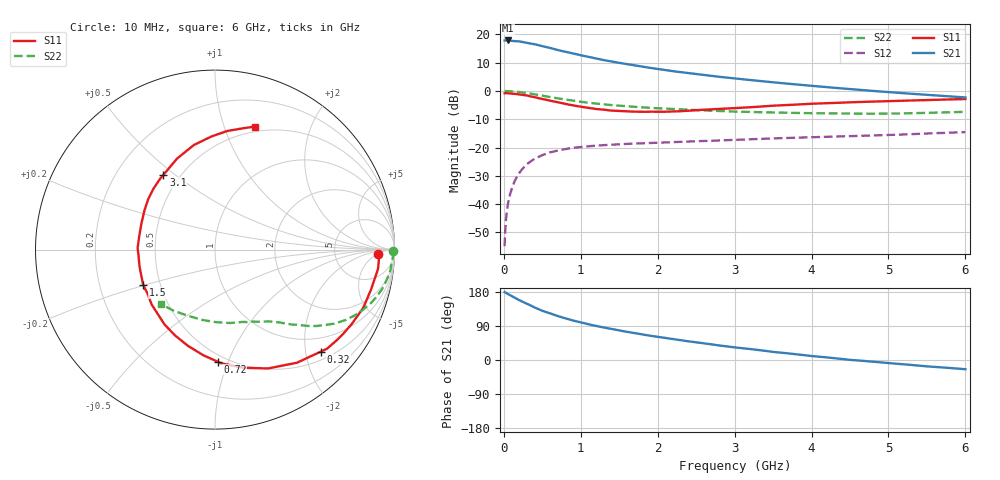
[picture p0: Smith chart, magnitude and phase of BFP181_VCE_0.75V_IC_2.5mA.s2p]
! Infineon Technologies  Discrete & RF Semiconductors
! BFP181
! VCE = 0.75V,  IC =  2.5 mA
! Common Emitter S-Parameters:  Jan 2016
# GHz  S  MA  R  50
!  f  S11  S21  S12  S22
! GHz  MAG  ANG  MAG  ANG  MAG  ANG  MAG  ANG
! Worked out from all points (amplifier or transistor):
!   210 points, 10 MHz to 6 GHz, reference 50 ohm
!   highest |S21| = 17.9 dB at 50 MHz (marker M1)
!   |S21| within 3 dB of that: start of sweep to 649.2 MHz
!   unconditionally stable (mu >= 1): 1.971 GHz to end of sweep
!   at 185 MHz: K = 0.12, MSG = 23.6 dB, |S12| = -29.7 dB
!   at 1.52 GHz: K = 0.83, MSG = 14.3 dB, |S12| = -18.8 dB
!   at 6 GHz: K = 1.22, MAG = 3.3 dB, |S12| = -14.6 dB
!   S11 on the Smith chart (normalised r, x): 10 MHz: 19, -6; 320 MHz: 0.67, -2.32; 720 MHz: 0.45, -0.92; 1.5 GHz: 0.40, -0.20; 3.1 GHz: 0.41, +0.45; 6 GHz: 0.45, +1.27
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0.01  0.9087 -1.6  7.81 179.2  0.0018 86.8  0.993 -0.6
0.025  0.9149 -3.5  7.798 177.7  0.0048 87.0  0.9943 -1.6
0.05  0.9146 -6.8  7.818 174.5  0.0096 88.1  0.9887 -3.4
0.115  0.8929 -16.6  7.655 167.4  0.0208 79.6  0.98 -7.8
0.2  0.8673 -28.6  7.533 158.0  0.0352 73.4  0.9572 -13.2
0.26  0.8468 -36.3  7.271 152.0  0.0447 68.5  0.9338 -16.8
0.32  0.8192 -43.9  7.012 146.6  0.0533 64.2  0.9087 -20.0
0.4  0.7782 -54.1  6.705 138.4  0.0632 59.1  0.874 -24.1
0.5  0.7249 -66.0  6.209 129.9  0.0733 53.3  0.8258 -28.4
0.6  0.6762 -76.8  5.785 122.7  0.0821 48.6  0.781 -31.9
0.72  0.6244 -88.7  5.223 114.8  0.0896 43.8  0.7334 -35.2
0.9  0.5563 -105.9  4.61 104.2  0.0989 37.9  0.6734 -39.2
1.02  0.5216 -116.7  4.223 98.0  0.1023 34.8  0.6377 -41.4
1.2  0.4796 -131.7  3.75 89.8  0.108 30.9  0.5982 -44.3
1.5  0.4459 -153.9  3.142 77.8  0.1139 27.0  0.5479 -47.9
1.8  0.4269 -175.1  2.687 67.2  0.1187 24.5  0.513 -51.5
2.02  0.4287 171.7  2.419 60.4  0.122 22.8  0.4934 -54.2
2.6  0.4661 143.1  1.91 43.9  0.1302 19.6  0.4523 -62.5
3.1  0.5059 124.7  1.615 31.2  0.1378 17.2  0.4281 -70.7
4.1  0.6005 99.4  1.199 8.7  0.1536 12.8  0.402 -91.2
5.1  0.6688 82.8  0.933 -9.7  0.1682 9.0  0.3993 -114.5
6  0.7202 72.1  0.768 -24.3  0.1871 5.1  0.4284 -135.1
